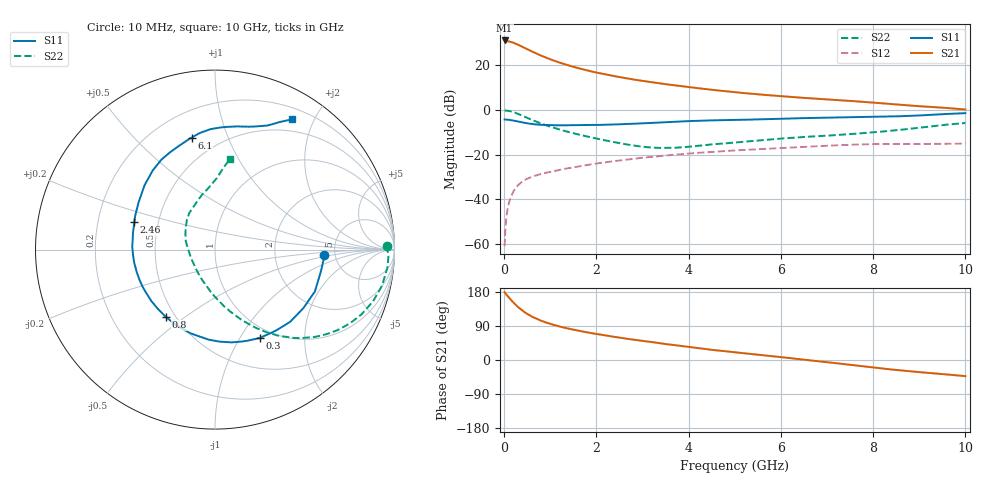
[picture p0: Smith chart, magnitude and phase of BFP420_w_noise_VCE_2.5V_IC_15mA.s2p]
! Infineon Technologies  Discrete & RF Semiconductors
! BFP420
! VCE =  2.5 V,  IC =  15 mA
! Common Emitter S-Parameters:  Jan 2016
# GHz  S  MA  R  50
!  f  S11  S21  S12  S22
! GHz  MAG  ANG  MAG  ANG  MAG  ANG  MAG  ANG
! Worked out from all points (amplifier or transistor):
!   233 points, 10 MHz to 10 GHz, reference 50 ohm
!   highest |S21| = 31.0 dB at 10 MHz (marker M1)
!   |S21| within 3 dB of that: start of sweep to 412.2 MHz
!   unconditionally stable (mu >= 1): 2.022 GHz to end of sweep
!   at 200 MHz: K = 0.19, MSG = 33.2 dB, |S12| = -36.5 dB
!   at 1.74 GHz: K = 0.93, MSG = 21.4 dB, |S12| = -24.8 dB
!   at 10 GHz: K = 1.07, MAG = 6.0 dB, |S12| = -15.1 dB
!   lowest NFmin = 1.06 dB at 900 MHz
!   S11 on the Smith chart (normalised r, x): 10 MHz: 4.10, -0.36; 300 MHz: 0.86, -1.22; 800 MHz: 0.45, -0.43; 2.46 GHz: 0.36, +0.14; 6.1 GHz: 0.36, +0.75; 10 GHz: 0.34, +1.71
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0.01  0.6103 -2.6  35.61 179.0  0.0009 75.4  0.9577 1.3
0.02  0.6088 -4.4  34.75 176.8  0.0016 85.1  0.9671 -2.1
0.07  0.6001 -16.0  34.28 169.4  0.0057 82.9  0.9591 -8.4
0.1  0.6035 -22.7  34.03 165.1  0.008 80.0  0.952 -12.2
0.15  0.5905 -33.6  32.97 158.1  0.0116 75.6  0.9266 -18.1
0.2  0.5807 -43.9  31.67 151.6  0.015 72.1  0.8935 -23.7
0.24  0.5659 -51.9  30.39 146.6  0.0174 69.2  0.8635 -27.7
0.3  0.5515 -63.2  28.65 139.7  0.0208 65.5  0.8165 -33.4
0.4  0.5252 -79.8  25.58 129.9  0.0252 60.2  0.7368 -41.4
0.5  0.5028 -94.1  22.73 121.7  0.0289 56.6  0.6631 -48.0
0.6  0.4861 -106.4  20.26 114.6  0.0319 54.0  0.5988 -53.4
0.8  0.4646 -126.0  16.32 103.7  0.0369 51.0  0.4965 -62.0
1  0.4559 -141.2  13.49 95.3  0.0413 49.5  0.4211 -69.0
1.2  0.4533 -153.1  11.4 88.4  0.0456 48.6  0.3639 -75.2
1.68  0.457 -174.3  8.189 75.7  0.0561 47.1  0.2713 -88.5
2.46  0.4748 161.3  5.501 59.8  0.0734 43.1  0.1836 -112.8
3.4  0.5242 139.6  3.881 44.0  0.0936 36.4  0.1411 -153.9
5.1  0.5997 113.6  2.429 19.1  0.1256 22.3  0.19 150.0
6.1  0.6375 101.8  1.988 6.3  0.1422 14.1  0.2321 131.5
6.8  0.6641 94.3  1.768 -3.1  0.1545 7.8  0.2581 120.3
8.4  0.7109 74.4  1.348 -25.1  0.1722 -9.5  0.3425 96.6
10  0.8442 59.3  1.02 -42.6  0.1761 -21.4  0.5092 80.7
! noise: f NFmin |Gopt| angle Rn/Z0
0.9  1.06  0.09  -152  0.13
1.8  1.36  0.18  -147  0.12
2.4  1.49  0.17  -148  0.14
3  1.53  0.25  -138  0.14
4  1.67  0.38  -119  0.2
5  2.14  0.44  -103  0.32
6  2.48  0.5  -88  0.47
